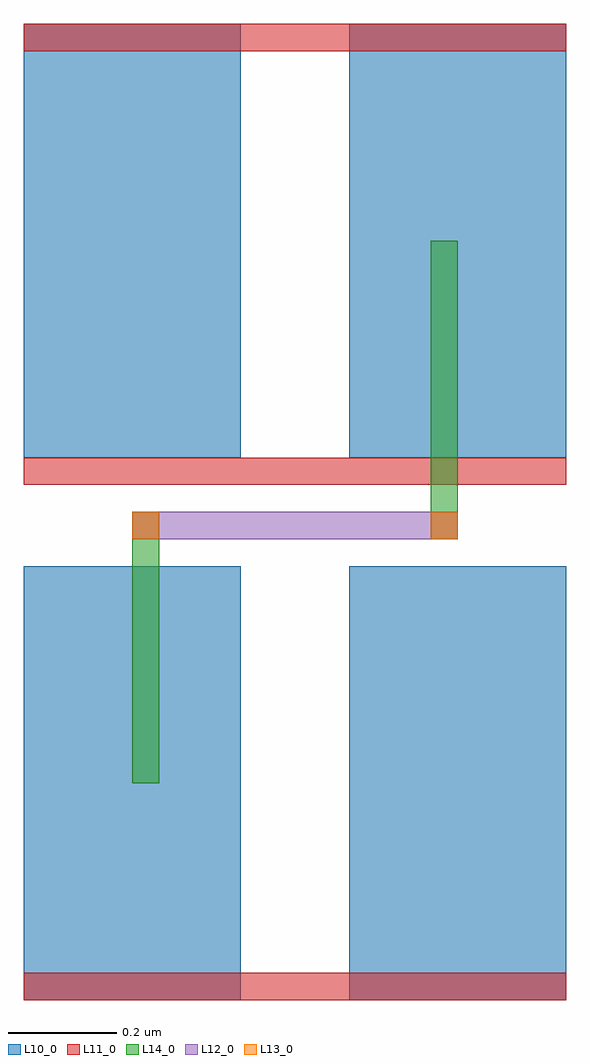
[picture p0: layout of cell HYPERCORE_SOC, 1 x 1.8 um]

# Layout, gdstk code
import gdstk
lib = gdstk.Library(unit=1e-6, precision=1e-09)
def R(c, l, rs):  # rectangles x0, y0, x1, y1
    for r in rs: c.add(gdstk.rectangle(r[:2], r[2:], *l))
L10_0 = (10, 0)
L11_0 = (11, 0)
L12_0 = (12, 0)
L13_0 = (13, 0)
L14_0 = (14, 0)

hypercore_soc = lib.new_cell('HYPERCORE_SOC')
R(hypercore_soc, L10_0, [(0,0,0.4,0.8), (0.6,0,1,0.8), (0,1,0.4,1.8), (0.6,1,1,1.8)])
R(hypercore_soc, L11_0, [(0,0,1,0.05), (0,0.95,1,1), (0,1.75,1,1.8)])
R(hypercore_soc, L12_0, [(0.2,0.85,0.8,0.9)])
R(hypercore_soc, L13_0, [(0.2,0.85,0.25,0.9), (0.75,0.85,0.8,0.9)])
R(hypercore_soc, L14_0, [(0.2,0.4,0.25,0.9), (0.75,0.85,0.8,1.4)])

lib.write_gds('HYPERCORE_SOC.gds')
